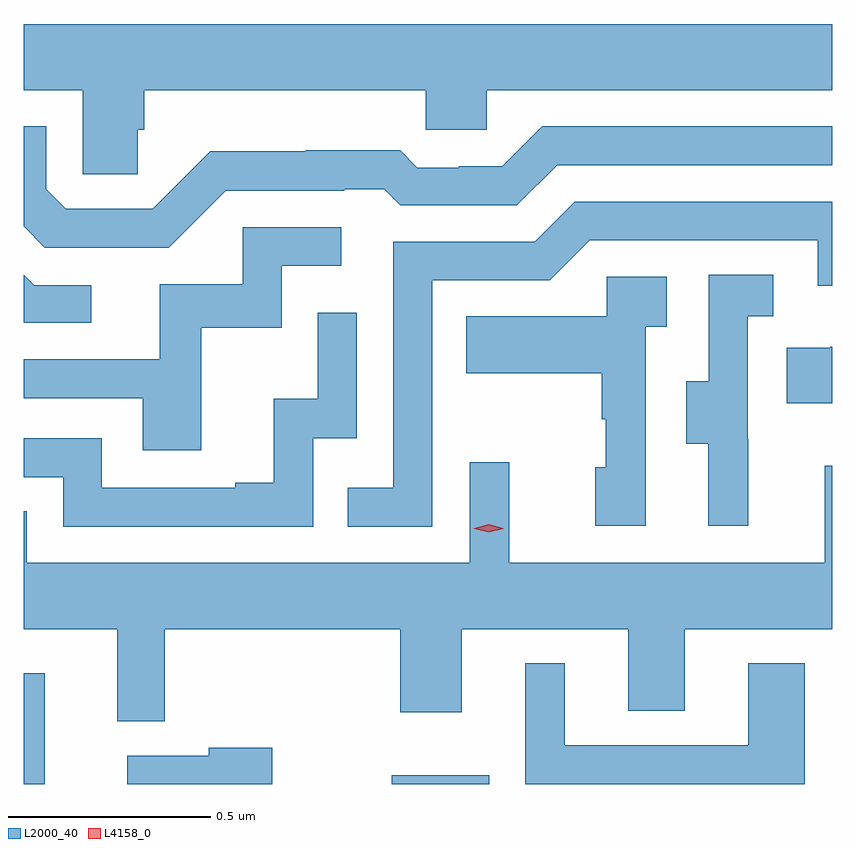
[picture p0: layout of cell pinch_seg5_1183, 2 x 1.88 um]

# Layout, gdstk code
import gdstk
lib = gdstk.Library(unit=1e-6, precision=1e-09)
def R(c, l, rs):  # rectangles x0, y0, x1, y1
    for r in rs: c.add(gdstk.rectangle(r[:2], r[2:], *l))
def P(c, l, *ps):  # polygons
    for p in ps: c.add(gdstk.Polygon(p, *l))
L2000_40 = (2000, 40)
L4158_0 = (4158, 0)

pinch_seg5_1183 = lib.new_cell('pinch_seg5_1183')
R(pinch_seg5_1183, L2000_40, [(853.756,845.721,853.809,845.995), (854.666,845.721,854.908,845.743)])
P(pinch_seg5_1183, L2000_40, [(854.039,847.338),(854.054,847.338),(854.054,847.436),(854.751,847.436),(854.751,847.338),(854.901,847.338),(854.901,847.436),(855.756,847.436),(855.756,847.6),(853.756,847.6),(853.756,847.436),(853.902,847.436),(853.902,847.228),(854.039,847.228)],
  [(854.256,847.188),(854.549,847.188),(854.549,847.191),(854.648,847.191),(854.687,847.152),(854.976,847.152),(855.075,847.251),(855.756,847.251),(855.756,847.347),(855.038,847.347),(854.939,847.248),(854.832,847.248),(854.832,847.245),(854.729,847.245),(854.687,847.288),(854.454,847.288),(854.454,847.285),(854.218,847.285),(854.076,847.143),(853.86,847.143),(853.812,847.191),(853.812,847.347),(853.756,847.347),(853.756,847.1),(853.809,847.047),(854.115,847.047)],
  [(854.766,846.966),(855.057,846.966),(855.156,847.065),(855.72,847.065),(855.72,846.953),(855.756,846.953),(855.756,847.161),(855.119,847.161),(855.02,847.062),(854.67,847.062),(854.67,846.453),(854.557,846.453),(854.557,846.357),(854.766,846.357)],
  [(854.195,846.849),(854.394,846.849),(854.394,847.002),(854.542,847.002),(854.542,847.098),(854.298,847.098),(854.298,846.957),(854.093,846.957),(854.093,846.771),(853.756,846.771),(853.756,846.675),(854.051,846.675),(854.051,846.546),(854.195,846.546)],
  [(853.924,846.954),(853.782,846.954),(853.756,846.98),(853.756,846.861),(853.924,846.861)],
  [(855.548,846.573),(855.546,846.573),(855.546,846.877),(855.61,846.877),(855.61,846.98),(855.45,846.98),(855.45,846.717),(855.395,846.717),(855.395,846.562),(855.449,846.562),(855.449,846.36),(855.548,846.36)],
  [(855.294,846.851),(855.346,846.851),(855.346,846.975),(855.198,846.975),(855.198,846.877),(854.851,846.877),(854.851,846.737),(855.186,846.737),(855.186,846.623),(855.196,846.623),(855.196,846.504),(855.17,846.504),(855.17,846.36),(855.294,846.36)],
  [(854.472,846.576),(854.58,846.576),(854.58,846.886),(854.484,846.886),(854.484,846.674),(854.375,846.674),(854.375,846.466),(854.279,846.466),(854.279,846.453),(853.95,846.453),(853.95,846.576),(853.756,846.576),(853.756,846.48),(853.854,846.48),(853.854,846.357),(854.472,846.357)],
  [(855.756,846.802),(855.751,846.802),(855.751,846.799),(855.643,846.799),(855.643,846.662),(855.756,846.662)],
  [(854.105,846.104),(854.687,846.104),(854.687,845.898),(854.839,845.898),(854.839,846.104),(855.251,846.104),(855.251,845.902),(855.391,845.902),(855.391,846.104),(855.756,846.104),(855.756,846.508),(855.737,846.508),(855.737,846.268),(854.957,846.268),(854.957,846.517),(854.859,846.517),(854.859,846.268),(853.764,846.268),(853.764,846.395),(853.756,846.395),(853.756,846.104),(853.988,846.104),(853.988,845.876),(854.105,845.876)],
  [(855.687,846.019),(855.548,846.019),(855.548,845.817),(855.094,845.817),(855.094,846.019),(854.996,846.019),(854.996,845.721),(855.687,845.721)],
  [(854.371,845.811),(854.214,845.811),(854.214,845.791),(854.012,845.791),(854.012,845.721),(854.371,845.721)])
P(pinch_seg5_1183, L4158_0, [(854.906,846.343),(854.87,846.352),(854.87,846.353),(854.87,846.353),(854.906,846.363),(854.942,846.353),(854.942,846.353),(854.942,846.352)])

lib.write_gds('pinch_seg5_1183.gds')
